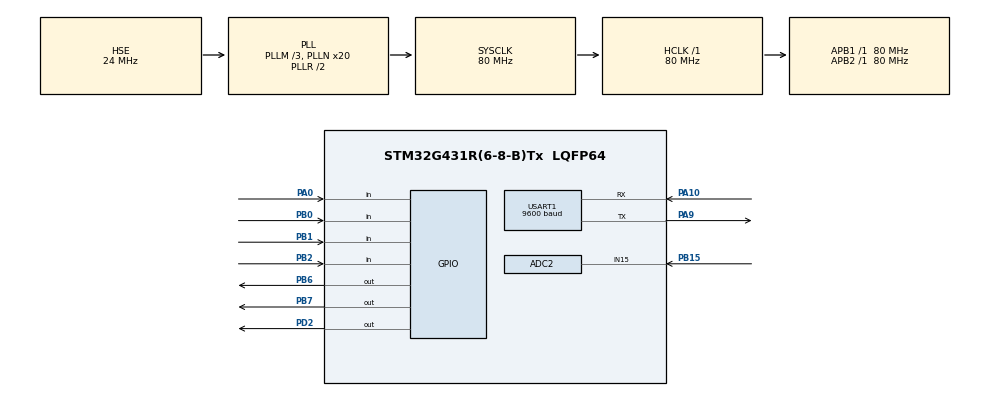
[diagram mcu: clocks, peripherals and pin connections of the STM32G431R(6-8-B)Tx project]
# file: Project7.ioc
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ADC2.Channel-0\#ChannelRegularConversion=ADC_CHANNEL_15
ADC2.NbrOfConversionFlag=1
ADC2.OffsetNumber-0\#ChannelRegularConversion=ADC_OFFSET_NONE
ADC2.Rank-0\#ChannelRegularConversion=1
ADC2.SamplingTime-0\#ChannelRegularConversion=ADC_SAMPLETIME_640CYCLES_5
Dma.Request0=USART1_RX
Dma.Request1=USART1_TX
Dma.USART1_RX.0.Direction=DMA_PERIPH_TO_MEMORY
Dma.USART1_RX.0.EventEnable=DISABLE
Dma.USART1_RX.0.Instance=DMA1_Channel1
Dma.USART1_RX.0.MemDataAlignment=DMA_MDATAALIGN_BYTE
Dma.USART1_RX.0.MemInc=DMA_MINC_ENABLE
Dma.USART1_RX.0.Mode=DMA_NORMAL
Dma.USART1_RX.0.PeriphDataAlignment=DMA_PDATAALIGN_BYTE
Dma.USART1_RX.0.PeriphInc=DMA_PINC_DISABLE
Dma.USART1_RX.0.Polarity=HAL_DMAMUX_REQ_GEN_RISING
Dma.USART1_RX.0.Priority=DMA_PRIORITY_LOW
Dma.USART1_RX.0.RequestNumber=1
Dma.USART1_RX.0.SignalID=NONE
Dma.USART1_RX.0.SyncEnable=DISABLE
Dma.USART1_RX.0.SyncPolarity=HAL_DMAMUX_SYNC_NO_EVENT
Dma.USART1_RX.0.SyncRequestNumber=1
Dma.USART1_RX.0.SyncSignalID=NONE
Dma.USART1_TX.1.Direction=DMA_MEMORY_TO_PERIPH
Dma.USART1_TX.1.EventEnable=DISABLE
Dma.USART1_TX.1.Instance=DMA1_Channel2
Dma.USART1_TX.1.MemDataAlignment=DMA_MDATAALIGN_BYTE
Dma.USART1_TX.1.MemInc=DMA_MINC_ENABLE
Dma.USART1_TX.1.Mode=DMA_NORMAL
Dma.USART1_TX.1.PeriphDataAlignment=DMA_PDATAALIGN_BYTE
Dma.USART1_TX.1.PeriphInc=DMA_PINC_DISABLE
Dma.USART1_TX.1.Polarity=HAL_DMAMUX_REQ_GEN_RISING
Dma.USART1_TX.1.Priority=DMA_PRIORITY_LOW
Dma.USART1_TX.1.RequestNumber=1
Dma.USART1_TX.1.SignalID=NONE
Dma.USART1_TX.1.SyncEnable=DISABLE
Dma.USART1_TX.1.SyncPolarity=HAL_DMAMUX_SYNC_NO_EVENT
Dma.USART1_TX.1.SyncRequestNumber=1
Dma.USART1_TX.1.SyncSignalID=NONE
Mcu.Family=STM32G4
Mcu.Name=STM32G431R(6-8-B)Tx
Mcu.Package=LQFP64
NVIC.DMA1_Channel1_IRQn=true\:0\:0\:false\:false\:true\:false\:true
NVIC.DMA1_Channel2_IRQn=true\:0\:0\:false\:false\:true\:false\:true
NVIC.PriorityGroup=NVIC_PRIORITYGROUP_4
NVIC.USART1_IRQn=true\:0\:0\:false\:false\:true\:true\:true
PA0.Signal=GPIO_Input
PA10.Mode=Asynchronous
PA10.Signal=USART1_RX
PA9.Mode=Asynchronous
PA9.Signal=USART1_TX
PB0.Signal=GPIO_Input
PB1.Signal=GPIO_Input
PB15.Mode=IN15-Single-Ended
PB15.Signal=ADC2_IN15
PB2.Signal=GPIO_Input
PB6.PinState=GPIO_PIN_SET
PB6.Signal=GPIO_Output
PB7.PinState=GPIO_PIN_SET
PB7.Signal=GPIO_Output
PD2.PinState=GPIO_PIN_SET
PD2.Signal=GPIO_Output
PF0-OSC_IN.Mode=HSE-External-Oscillator
PF0-OSC_IN.Signal=RCC_OSC_IN
PF1-OSC_OUT.Mode=HSE-External-Oscillator
PF1-OSC_OUT.Signal=RCC_OSC_OUT
ProjectManager.HeapSize=0x200
ProjectManager.StackSize=0x400
ProjectManager.TargetToolchain=MDK-ARM V5.27
RCC.ADC12Freq_Value=80000000
RCC.AHBFreq_Value=80000000
RCC.APB1Freq_Value=80000000
RCC.APB1TimFreq_Value=80000000
RCC.APB2Freq_Value=80000000
RCC.APB2TimFreq_Value=80000000
RCC.CortexFreq_Value=80000000
RCC.EXTERNAL_CLOCK_VALUE=12288000
RCC.HCLKFreq_Value=80000000
RCC.HSE_VALUE=24000000
RCC.HSI48_VALUE=48000000
RCC.HSI_VALUE=16000000
RCC.LSE_VALUE=32768
RCC.PLLM=RCC_PLLM_DIV3
RCC.PLLN=20
RCC.PLLSourceVirtual=RCC_PLLSOURCE_HSE
RCC.SYSCLKFreq_VALUE=80000000
RCC.SYSCLKSource=RCC_SYSCLKSOURCE_PLLCLK
RCC.USBFreq_Value=80000000
RCC.VCOOutputFreq_Value=160000000
RTC.Format=RTC_FORMAT_BIN
RTC.Hours=23
RTC.Minutes=59
RTC.Seconds=55
USART1.BaudRate=9600
USART1.VirtualMode-Asynchronous=VM_ASYNC
VP_RTC_VS_RTC_Activate.Mode=RTC_Enabled
VP_RTC_VS_RTC_Calendar.Mode=RTC_Calendar
VP_SYS_VS_DBSignals.Mode=DisableDeadBatterySignals
board=custom

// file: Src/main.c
/* USER CODE BEGIN Header */
/**
  ******************************************************************************
  * @file           : main.c
  * @brief          : Main program body
  ******************************************************************************
  * @attention
  *
  * <h2><center>&copy; Copyright (c) 2022 STMicroelectronics.
  * All rights reserved.</center></h2>
  *
  * This software component is licensed by ST under BSD 3-Clause license,
  * the "License"; You may not use this file except in compliance with the
  * License. You may obtain a copy of the License at:
  *                        opensource.org/licenses/BSD-3-Clause
  *
  ******************************************************************************
  */
/* USER CODE END Header */

#include "main.h"
#include "adc.h"
#include "dma.h"
#include "rtc.h"
#include "usart.h"
#include "gpio.h"

/* USER CODE BEGIN Includes */
#include "lcd.h"
#include "task.h"
#include <string.h>
#include <stdio.h>
#include "i2c_hal.h"
//#include "task.h"
/* USER CODE END Includes */

/* USER CODE BEGIN PTD */
extern DMA_HandleTypeDef hdma_usart1_rx;
uint8_t change_ok_flag[]={'o','k','\r','\n'};
uint8_t change_ok[]="ok\r\n";
uint8_t strs[20];

/* USER CODE END PTD */

void SystemClock_Config(void);

/* USER CODE BEGIN 0 */
/***********串口收发部分函数*********/
void HAL_UART_IdleCpltCallback(UART_HandleTypeDef *huart)
{
	//uint16_t num=0;
	//num=50-__HAL_DMA_GET_COUNTER(&hdma_usart1_rx);
	//HAL_UART_Transmit_DMA(&huart1,Recive_str,num);
	//sprintf((char *)strs, "%s   ",Recive_str);
	//LCD_ClearLine(Line8);
	//LCD_DisplayStringLine(Line8,Recive_str);
//	sprintf((char *)strs, "  num:%d            ",num);
//
//	LCD_DisplayStringLine(Line9,strs);
//	if(num==6)
//	{
		if((Recive_str[0]=='k')&&(Recive_str[1]=='0')&&(Recive_str[2]=='.')&&(('1'<=Recive_str[3])&&(Recive_str[3]<='9'))&&(Recive_str[4]=='\r')&&(Recive_str[5]=='\n'))
		{
			HAL_UART_Transmit_DMA(&huart1,change_ok,strlen((char*)change_ok));
			k=0.1*(Recive_str[3]-'0');
			x24c02_write(0x01,k*10);
		}
//	}
	HAL_UART_Receive_DMA(&huart1,Recive_str,50);
}
/* USER CODE END 0 */

int main(void)
{

  /* MCU Configuration--------------------------------------------------------*/

  /* Reset of all peripherals, Initializes the Flash interface and the Systick. */
  HAL_Init();

  /* Configure the system clock */
  SystemClock_Config();

  /* Initialize all configured peripherals */
  MX_GPIO_Init();
  MX_DMA_Init();
  MX_ADC2_Init();
  MX_USART1_UART_Init();
  MX_RTC_Init();
  /* USER CODE BEGIN 2 */
	LCD_Init();
	LCD_Clear(Black);
	LCD_SetTextColor(White);
	LCD_SetBackColor(Black);
	task_init();

	HAL_UART_Receive_DMA(&huart1,Recive_str,50);
	__HAL_UART_ENABLE_IT(&huart1,UART_IT_IDLE);
  /* USER CODE END 2 */

  /* Infinite loop */
  while (1)
  {

    /* USER CODE BEGIN 3 */
		project7();
  }
  /* USER CODE END 3 */
}

void SystemClock_Config(void)
{
  RCC_OscInitTypeDef RCC_OscInitStruct = {0};
  RCC_ClkInitTypeDef RCC_ClkInitStruct = {0};
  RCC_PeriphCLKInitTypeDef PeriphClkInit = {0};

  /** Configure the main internal regulator output voltage
  */
  HAL_PWREx_ControlVoltageScaling(PWR_REGULATOR_VOLTAGE_SCALE1);
  /** Initializes the CPU, AHB and APB busses clocks
  */
  RCC_OscInitStruct.OscillatorType = RCC_OSCILLATORTYPE_LSI|RCC_OSCILLATORTYPE_HSE;
  RCC_OscInitStruct.HSEState = RCC_HSE_ON;
  RCC_OscInitStruct.LSIState = RCC_LSI_ON;
  RCC_OscInitStruct.PLL.PLLState = RCC_PLL_ON;
  RCC_OscInitStruct.PLL.PLLSource = RCC_PLLSOURCE_HSE;
  RCC_OscInitStruct.PLL.PLLM = RCC_PLLM_DIV3;
  RCC_OscInitStruct.PLL.PLLN = 20;
  RCC_OscInitStruct.PLL.PLLP = RCC_PLLP_DIV2;
  RCC_OscInitStruct.PLL.PLLQ = RCC_PLLQ_DIV2;
  RCC_OscInitStruct.PLL.PLLR = RCC_PLLR_DIV2;
  if (HAL_RCC_OscConfig(&RCC_OscInitStruct) != HAL_OK)
  {
    Error_Handler();
  }
  /** Initializes the CPU, AHB and APB busses clocks
  */
  RCC_ClkInitStruct.ClockType = RCC_CLOCKTYPE_HCLK|RCC_CLOCKTYPE_SYSCLK
                              |RCC_CLOCKTYPE_PCLK1|RCC_CLOCKTYPE_PCLK2;
  RCC_ClkInitStruct.SYSCLKSource = RCC_SYSCLKSOURCE_PLLCLK;
  RCC_ClkInitStruct.AHBCLKDivider = RCC_SYSCLK_DIV1;
  RCC_ClkInitStruct.APB1CLKDivider = RCC_HCLK_DIV1;
  RCC_ClkInitStruct.APB2CLKDivider = RCC_HCLK_DIV1;

  if (HAL_RCC_ClockConfig(&RCC_ClkInitStruct, FLASH_LATENCY_3) != HAL_OK)
  {
    Error_Handler();
  }
  /** Initializes the peripherals clocks
  */
  PeriphClkInit.PeriphClockSelection = RCC_PERIPHCLK_RTC|RCC_PERIPHCLK_USART1
                              |RCC_PERIPHCLK_ADC12;
  PeriphClkInit.Usart1ClockSelection = RCC_USART1CLKSOURCE_PCLK2;
  PeriphClkInit.Adc12ClockSelection = RCC_ADC12CLKSOURCE_SYSCLK;
  PeriphClkInit.RTCClockSelection = RCC_RTCCLKSOURCE_LSI;

  if (HAL_RCCEx_PeriphCLKConfig(&PeriphClkInit) != HAL_OK)
  {
    Error_Handler();
  }
}

void Error_Handler(void)
{
}

/************************ (C) COPYRIGHT STMicroelectronics *****END OF FILE****/
